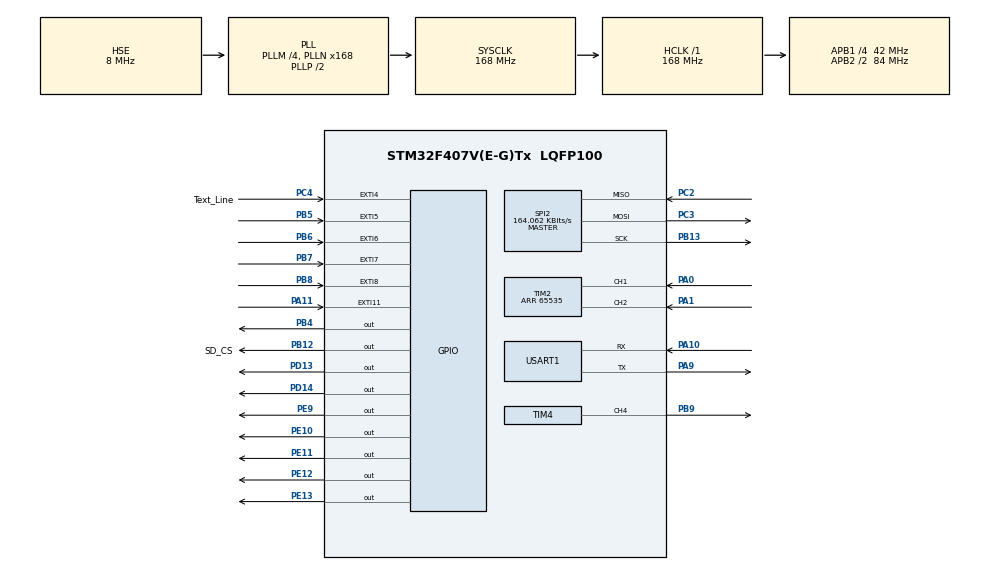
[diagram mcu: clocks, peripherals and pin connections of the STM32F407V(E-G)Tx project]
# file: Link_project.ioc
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FATFS._CODE_PAGE=437
FATFS._USE_LFN=2
FREERTOS.Tasks01=defaultTask,24,128,StartDefaultTask,Default,NULL,Dynamic,NULL,NULL
FREERTOS.configCHECK_FOR_STACK_OVERFLOW=2
FREERTOS.configTOTAL_HEAP_SIZE=51200
Mcu.Family=STM32F4
Mcu.Name=STM32F407V(E-G)Tx
Mcu.Package=LQFP100
NVIC.EXTI15_10_IRQn=true\:5\:0\:false\:false\:true\:true\:true\:true\:true
NVIC.EXTI4_IRQn=true\:5\:0\:false\:false\:true\:true\:true\:true\:true
NVIC.EXTI9_5_IRQn=true\:5\:0\:false\:false\:true\:true\:true\:true\:true
NVIC.PriorityGroup=NVIC_PRIORITYGROUP_4
NVIC.TIM6_DAC_IRQn=true\:5\:0\:false\:false\:true\:true\:true\:true\:true
NVIC.TIM7_IRQn=true\:15\:0\:false\:false\:true\:false\:false\:true\:true
NVIC.TimeBase=TIM7_IRQn
NVIC.TimeBaseIP=TIM7
PA0-WKUP.Signal=S_TIM2_CH1_ETR
PA1.Signal=S_TIM2_CH2
PA10.Mode=Asynchronous
PA10.Signal=USART1_RX
PA11.GPIO_ModeDefaultEXTI=GPIO_MODE_IT_RISING_FALLING
PA11.GPIO_PuPd=GPIO_PULLUP
PA11.Signal=GPXTI11
PA13.Mode=Serial_Wire
PA13.Signal=SYS_JTMS-SWDIO
PA14.Mode=Serial_Wire
PA14.Signal=SYS_JTCK-SWCLK
PA9.Mode=Asynchronous
PA9.Signal=USART1_TX
PB12.GPIO_Label=SD_CS
PB12.GPIO_Speed=GPIO_SPEED_FREQ_HIGH
PB12.Signal=GPIO_Output
PB13.Mode=Full_Duplex_Master
PB13.Signal=SPI2_SCK
PB4.Signal=GPIO_Output
PB5.GPIO_ModeDefaultEXTI=GPIO_MODE_IT_RISING_FALLING
PB5.GPIO_PuPd=GPIO_PULLUP
PB5.Signal=GPXTI5
PB6.GPIO_ModeDefaultEXTI=GPIO_MODE_IT_RISING_FALLING
PB6.GPIO_PuPd=GPIO_PULLUP
PB6.Signal=GPXTI6
PB7.GPIO_ModeDefaultEXTI=GPIO_MODE_IT_RISING_FALLING
PB7.GPIO_PuPd=GPIO_PULLUP
PB7.Signal=GPXTI7
PB8.GPIO_ModeDefaultEXTI=GPIO_MODE_IT_RISING_FALLING
PB8.GPIO_PuPd=GPIO_PULLUP
PB8.Signal=GPXTI8
PB9.Signal=S_TIM4_CH4
PC14-OSC32_IN.Mode=LSE-External-Oscillator
PC14-OSC32_IN.Signal=RCC_OSC32_IN
PC15-OSC32_OUT.Mode=LSE-External-Oscillator
PC15-OSC32_OUT.Signal=RCC_OSC32_OUT
PC2.Mode=Full_Duplex_Master
PC2.Signal=SPI2_MISO
PC3.Mode=Full_Duplex_Master
PC3.Signal=SPI2_MOSI
PC4.GPIO_Label=Text_Line
PC4.GPIO_ModeDefaultEXTI=GPIO_MODE_IT_RISING_FALLING
PC4.GPIO_PuPd=GPIO_PULLUP
PC4.Signal=GPXTI4
PD13.Signal=GPIO_Output
PD14.Signal=GPIO_Output
PE10.GPIO_Speed=GPIO_SPEED_FREQ_HIGH
PE10.Signal=GPIO_Output
PE11.GPIO_Speed=GPIO_SPEED_FREQ_HIGH
PE11.Signal=GPIO_Output
PE12.GPIO_Speed=GPIO_SPEED_FREQ_HIGH
PE12.Signal=GPIO_Output
PE13.GPIO_Speed=GPIO_SPEED_FREQ_HIGH
PE13.Signal=GPIO_Output
PE9.GPIO_Speed=GPIO_SPEED_FREQ_HIGH
PE9.Signal=GPIO_Output
PH0-OSC_IN.Mode=HSE-External-Oscillator
PH0-OSC_IN.Signal=RCC_OSC_IN
PH1-OSC_OUT.Mode=HSE-External-Oscillator
PH1-OSC_OUT.Signal=RCC_OSC_OUT
ProjectManager.HeapSize=0x200
ProjectManager.StackSize=0x400
ProjectManager.TargetToolchain=CMake
RCC.48MHZClocksFreq_Value=84000000
RCC.AHBFreq_Value=168000000
RCC.APB1CLKDivider=RCC_HCLK_DIV4
RCC.APB1Freq_Value=42000000
RCC.APB1TimFreq_Value=84000000
RCC.APB2CLKDivider=RCC_HCLK_DIV2
RCC.APB2Freq_Value=84000000
RCC.APB2TimFreq_Value=168000000
RCC.CortexFreq_Value=168000000
RCC.HCLKFreq_Value=168000000
RCC.HSE_VALUE=8000000
RCC.HSI_VALUE=16000000
RCC.PLLM=4
RCC.PLLN=168
RCC.PLLSourceVirtual=RCC_PLLSOURCE_HSE
RCC.RCC_RTC_Clock_Source=RCC_RTCCLKSOURCE_LSE
RCC.RCC_RTC_Clock_SourceVirtual=RCC_RTCCLKSOURCE_LSE
RCC.SYSCLKFreq_VALUE=168000000
RCC.SYSCLKSource=RCC_SYSCLKSOURCE_PLLCLK
RCC.VCOOutputFreq_Value=336000000
RTC.Date=24
RTC.Format=RTC_FORMAT_BIN
RTC.Hours=8
RTC.Month=RTC_MONTH_DECEMBER
RTC.WeekDay=RTC_WEEKDAY_THURSDAY
RTC.Year=0
SH.S_TIM2_CH1_ETR.0=TIM2_CH1,Encoder_Interface
SH.S_TIM2_CH2.0=TIM2_CH2,Encoder_Interface
SH.S_TIM4_CH4.0=TIM4_CH4,PWM Generation4 CH4
SPI2.BaudRatePrescaler=SPI_BAUDRATEPRESCALER_256
SPI2.CLKPhase=SPI_PHASE_1EDGE
SPI2.CLKPolarity=SPI_POLARITY_LOW
SPI2.CalculateBaudRate=164.062 KBits/s
SPI2.Direction=SPI_DIRECTION_2LINES
SPI2.Mode=SPI_MODE_MASTER
SPI2.VirtualType=VM_MASTER
TIM2.EncoderMode=TIM_ENCODERMODE_TI12
TIM2.IC1Filter=3
TIM2.IC2Filter=3
TIM2.Period=65535
TIM4.Channel-PWM\ Generation4\ CH4=TIM_CHANNEL_4
TIM4.Period=999
TIM4.Prescaler=83
TIM5.Prescaler=83
TIM6.Period=99
TIM6.Prescaler=8399
USART1.VirtualMode=VM_ASYNC
VP_FATFS_VS_Generic.Mode=User_defined
VP_FREERTOS_VS_CMSIS_V2.Mode=CMSIS_V2
VP_RTC_VS_RTC_Activate.Mode=RTC_Enabled
VP_RTC_VS_RTC_Calendar.Mode=RTC_Calendar
VP_SYS_VS_tim7.Mode=TIM7
VP_TIM5_VS_ClockSourceINT.Mode=Internal
VP_TIM6_VS_ClockSourceINT.Mode=Enable_Timer
board=custom

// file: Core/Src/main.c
/* USER CODE BEGIN Header */
/**
  ******************************************************************************
  * @file           : main.c
  * @brief          : Main program body
  ******************************************************************************
  * @attention
  *
  * Copyright (c) 2026 STMicroelectronics.
  * All rights reserved.
  *
  * This software is licensed under terms that can be found in the LICENSE file
  * in the root directory of this software component.
  * If no LICENSE file comes with this software, it is provided AS-IS.
  *
  ******************************************************************************
  */
/* USER CODE END Header */
#include "main.h"
#include "cmsis_os.h"
#include "fatfs.h"
#include "rtc.h"
#include "spi.h"
#include "tim.h"
#include "usart.h"
#include "gpio.h"

/* USER CODE BEGIN Includes */
#include "bsp_spi.h"
#include "bsp_buzzer.h"
/* USER CODE END Includes */

void SystemClock_Config(void);
void MX_FREERTOS_Init(void);

int main(void)
{

  /* MCU Configuration--------------------------------------------------------*/

  /* Reset of all peripherals, Initializes the Flash interface and the Systick. */
  HAL_Init();

  /* Configure the system clock */
  SystemClock_Config();

  /* Initialize all configured peripherals */
  MX_GPIO_Init();
  MX_RTC_Init();
  MX_SPI2_Init();
  MX_TIM2_Init();
  MX_TIM4_Init();
  MX_TIM6_Init();
  MX_USART1_UART_Init();
  MX_FATFS_Init();
  MX_TIM5_Init();
  /* USER CODE BEGIN 2 */
  BSP_SPI2_Init();
  /* USER CODE END 2 */

  /* Init scheduler */
  osKernelInitialize();  /* Call init function for freertos objects (in cmsis_os2.c) */
  MX_FREERTOS_Init();

  /* Start scheduler */
  osKernelStart();

  /* We should never get here as control is now taken by the scheduler */

  /* Infinite loop */
  while (1)
  {

  }
}

void SystemClock_Config(void)
{
  RCC_OscInitTypeDef RCC_OscInitStruct = {0};
  RCC_ClkInitTypeDef RCC_ClkInitStruct = {0};

  /** Configure the main internal regulator output voltage
  */
  __HAL_RCC_PWR_CLK_ENABLE();
  __HAL_PWR_VOLTAGESCALING_CONFIG(PWR_REGULATOR_VOLTAGE_SCALE1);

  /** Initializes the RCC Oscillators according to the specified parameters
  * in the RCC_OscInitTypeDef structure.
  */
  RCC_OscInitStruct.OscillatorType = RCC_OSCILLATORTYPE_HSE|RCC_OSCILLATORTYPE_LSE;
  RCC_OscInitStruct.HSEState = RCC_HSE_ON;
  RCC_OscInitStruct.LSEState = RCC_LSE_ON;
  RCC_OscInitStruct.PLL.PLLState = RCC_PLL_ON;
  RCC_OscInitStruct.PLL.PLLSource = RCC_PLLSOURCE_HSE;
  RCC_OscInitStruct.PLL.PLLM = 4;
  RCC_OscInitStruct.PLL.PLLN = 168;
  RCC_OscInitStruct.PLL.PLLP = RCC_PLLP_DIV2;
  RCC_OscInitStruct.PLL.PLLQ = 4;
  if (HAL_RCC_OscConfig(&RCC_OscInitStruct) != HAL_OK)
  {
    Error_Handler();
  }

  /** Initializes the CPU, AHB and APB buses clocks
  */
  RCC_ClkInitStruct.ClockType = RCC_CLOCKTYPE_HCLK|RCC_CLOCKTYPE_SYSCLK
                              |RCC_CLOCKTYPE_PCLK1|RCC_CLOCKTYPE_PCLK2;
  RCC_ClkInitStruct.SYSCLKSource = RCC_SYSCLKSOURCE_PLLCLK;
  RCC_ClkInitStruct.AHBCLKDivider = RCC_SYSCLK_DIV1;
  RCC_ClkInitStruct.APB1CLKDivider = RCC_HCLK_DIV4;
  RCC_ClkInitStruct.APB2CLKDivider = RCC_HCLK_DIV2;

  if (HAL_RCC_ClockConfig(&RCC_ClkInitStruct, FLASH_LATENCY_5) != HAL_OK)
  {
    Error_Handler();
  }
}

/* USER CODE BEGIN 4 */
/* FreeRTOS 启动时通过 portCONFIGURE_TIMER_FOR_RUN_TIME_STATS 调用：初始化并启动 TIM5 */
void vConfigureTimerForRunTimeStats(void)
{
  /* TIM5 已在 main() 里 MX_TIM5_Init 初始化，此处只需启动计数 */
  HAL_TIM_Base_Start(&htim5);
}

/* 返回当前运行时间计数器值(µs)，供 FreeRTOS 统计各任务运行时间占比 */
uint32_t ulGetRunTimeCounterValue(void)
{
  return (uint32_t)(TIM5->CNT);
}
/* USER CODE END 4 */

void HAL_TIM_PeriodElapsedCallback(TIM_HandleTypeDef *htim)
{
  if (htim->Instance == TIM7)
  {
    HAL_IncTick();
  }
}

void Error_Handler(void)
{
  __disable_irq();
  while (1)
  {
  }
}

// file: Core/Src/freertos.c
/* USER CODE BEGIN Header */
/**
  ******************************************************************************
  * File Name          : freertos.c
  * Description        : Code for freertos applications
  ******************************************************************************
  * @attention
  *
  * Copyright (c) 2026 STMicroelectronics.
  * All rights reserved.
  *
  * This software is licensed under terms that can be found in the LICENSE file
  * in the root directory of this software component.
  * If no LICENSE file comes with this software, it is provided AS-IS.
  *
  ******************************************************************************
  */
/* USER CODE END Header */

#include "FreeRTOS.h"
#include "task.h"
#include "main.h"
#include "cmsis_os.h"

/* USER CODE BEGIN Includes */
#include "dev_spi_oled.h"
#include "dev_ec11.h"
#include "bsp_key.h"
#include "bsp_led.h"
#include "app_event.h"
#include "app_input.h"
#include "bsp_uart.h"
#include "app_event.h"
#include "app_ui_model.h"
#include "bsp_iwdg.h"
#include "app_health.h"
#include "app_cli.h"
extern void TaskInput(void *argument);
extern void TaskSys(void *argument);
extern void TaskUI(void *argument);
/* USER CODE END Includes */

/* Definitions for defaultTask */
osThreadId_t defaultTaskHandle;
const osThreadAttr_t defaultTask_attributes = {
  .name = "defaultTask",
  .stack_size = 128 * 4,
  .priority = (osPriority_t) osPriorityNormal,
};

void StartDefaultTask(void *argument);

void MX_FREERTOS_Init(void); /* (MISRA C 2004 rule 8.1) */

/* Hook prototypes */
void vApplicationStackOverflowHook(xTaskHandle xTask, signed char *pcTaskName);

/* USER CODE BEGIN 4 */
void vApplicationStackOverflowHook(xTaskHandle xTask, signed char *pcTaskName)
{
   /* 栈溢出检测：停机以便调试器定位溢出任务。
    * 原为空实现，溢出后静默继续会引发随机 HardFault/崩溃，难以排查。 */
   (void)xTask;
   (void)pcTaskName;
   taskDISABLE_INTERRUPTS();
   for(;;);
}
/* USER CODE END 4 */

void MX_FREERTOS_Init(void) {

  /* Create the thread(s) */
  /* creation of defaultTask */
  defaultTaskHandle = osThreadNew(StartDefaultTask, NULL, &defaultTask_attributes);

}

void StartDefaultTask(void *argument)
{
  /* USER CODE BEGIN StartDefaultTask */

  /* Infinite loop */
    (void)argument;

    BSP_Key_Init();
    DEV_EC11_Init();
    APP_Event_Init();
    APP_Health_Init();
    BSP_IWDG_Init();
    APP_CLI_Init();

    xTaskCreate(TaskInput, "Input", 256, NULL, 5, NULL);
    xTaskCreate(TaskSys,   "Sys",   1024, NULL, 4, NULL);
    xTaskCreate(TaskUI,    "UI",    512,  NULL, 3, NULL);
    xTaskCreate(APP_Health_Task, "Health", 512, NULL, 6, NULL);
    xTaskCreate(APP_CLI_Task,    "CLI",    512, NULL, 1, NULL);

    vTaskDelete(NULL);   /* defaultTask 完成任务后删除自己 */
  for(;;)
  {

  }
  /* USER CODE END StartDefaultTask */
}
